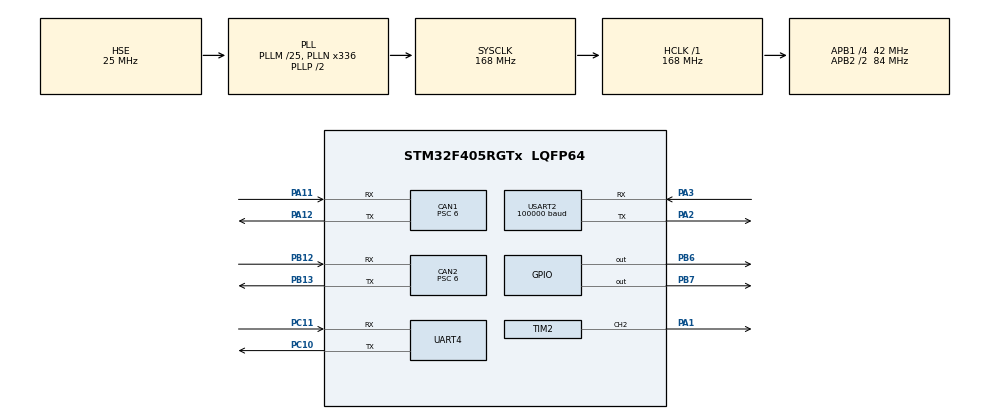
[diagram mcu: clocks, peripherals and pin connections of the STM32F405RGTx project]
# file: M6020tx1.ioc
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CAN1.ABOM=ENABLE
CAN1.BS1=CAN_BS1_4TQ
CAN1.BS2=CAN_BS2_2TQ
CAN1.CalculateBaudRate=1000000
CAN1.CalculateTimeBit=1000
CAN1.CalculateTimeQuantum=142.85714285714286
CAN1.NART=DISABLE
CAN1.Prescaler=6
CAN1.RFLM=DISABLE
CAN1.SJW=CAN_SJW_1TQ
CAN2.ABOM=ENABLE
CAN2.AWUM=ENABLE
CAN2.BS1=CAN_BS1_4TQ
CAN2.BS2=CAN_BS2_2TQ
CAN2.CalculateBaudRate=1000000
CAN2.CalculateTimeBit=1000
CAN2.CalculateTimeQuantum=142.85714285714286
CAN2.NART=ENABLE
CAN2.Prescaler=6
Dma.Request0=USART2_RX
Dma.Request1=UART4_TX
Dma.UART4_TX.1.Direction=DMA_MEMORY_TO_PERIPH
Dma.UART4_TX.1.FIFOMode=DMA_FIFOMODE_DISABLE
Dma.UART4_TX.1.Instance=DMA1_Stream4
Dma.UART4_TX.1.MemDataAlignment=DMA_MDATAALIGN_BYTE
Dma.UART4_TX.1.MemInc=DMA_MINC_ENABLE
Dma.UART4_TX.1.Mode=DMA_NORMAL
Dma.UART4_TX.1.PeriphDataAlignment=DMA_PDATAALIGN_BYTE
Dma.UART4_TX.1.PeriphInc=DMA_PINC_DISABLE
Dma.UART4_TX.1.Priority=DMA_PRIORITY_VERY_HIGH
Dma.USART2_RX.0.Direction=DMA_PERIPH_TO_MEMORY
Dma.USART2_RX.0.FIFOMode=DMA_FIFOMODE_ENABLE
Dma.USART2_RX.0.FIFOThreshold=DMA_FIFO_THRESHOLD_FULL
Dma.USART2_RX.0.Instance=DMA1_Stream5
Dma.USART2_RX.0.MemBurst=DMA_MBURST_SINGLE
Dma.USART2_RX.0.MemDataAlignment=DMA_MDATAALIGN_BYTE
Dma.USART2_RX.0.MemInc=DMA_MINC_ENABLE
Dma.USART2_RX.0.Mode=DMA_CIRCULAR
Dma.USART2_RX.0.PeriphBurst=DMA_PBURST_SINGLE
Dma.USART2_RX.0.PeriphDataAlignment=DMA_PDATAALIGN_BYTE
Dma.USART2_RX.0.PeriphInc=DMA_PINC_DISABLE
Dma.USART2_RX.0.Priority=DMA_PRIORITY_LOW
FREERTOS.INCLUDE_vTaskDelayUntil=1
FREERTOS.Queues01=USART_RXPORT,16,uint16_t,0,Dynamic,NULL,NULL
FREERTOS.Tasks01=defaultTask,-3,128,StartDefaultTask,Default,NULL,Dynamic,NULL,NULL;GM6020id2,-1,128,gm2,Default,NULL,Dynamic,NULL,NULL;jieGM,1,128,jbgm,Default,NULL,Dynamic,NULL,NULL;IMU,0,256,IMUwuhu,Default,NULL,Dynamic,NULL,NULL;pid,0,128,pidxy,Default,NULL,Dynamic,NULL,NULL;myTask06,-1,128,StartTask06,Default,NULL,Dynamic,NULL,NULL;myTask07,-1,128,StartTask07,Default,NULL,Dynamic,NULL,NULL;dr16,0,128,dr16Rx,Default,NULL,Dynamic,NULL,NULL;remove0,1,128,guiling,Default,NULL,Dynamic,NULL,NULL
Mcu.Family=STM32F4
Mcu.Name=STM32F405RGTx
Mcu.Package=LQFP64
NVIC.CAN1_RX0_IRQn=true\:6\:0\:true\:false\:true\:true\:true\:true\:true
NVIC.CAN1_RX1_IRQn=true\:6\:0\:true\:false\:true\:true\:true\:true\:true
NVIC.CAN2_RX0_IRQn=true\:5\:0\:false\:false\:true\:true\:true\:true\:true
NVIC.CAN2_RX1_IRQn=true\:5\:0\:false\:false\:true\:true\:true\:true\:true
NVIC.DMA1_Stream4_IRQn=true\:5\:0\:false\:false\:true\:true\:false\:true\:true
NVIC.DMA1_Stream5_IRQn=true\:5\:0\:false\:false\:true\:true\:false\:true\:true
NVIC.PriorityGroup=NVIC_PRIORITYGROUP_4
NVIC.TIM1_UP_TIM10_IRQn=true\:15\:0\:false\:false\:true\:false\:false\:true\:true
NVIC.TimeBase=TIM1_UP_TIM10_IRQn
NVIC.TimeBaseIP=TIM1
NVIC.UART4_IRQn=true\:5\:0\:true\:false\:true\:true\:true\:true\:true
NVIC.USART2_IRQn=true\:5\:0\:true\:false\:true\:true\:true\:true\:true
PA1.Signal=S_TIM2_CH2
PA11.Mode=CAN_Activate
PA11.Signal=CAN1_RX
PA12.Mode=CAN_Activate
PA12.Signal=CAN1_TX
PA13.Mode=Serial_Wire
PA13.Signal=SYS_JTMS-SWDIO
PA14.Mode=Serial_Wire
PA14.Signal=SYS_JTCK-SWCLK
PA2.Mode=Asynchronous
PA2.Signal=USART2_TX
PA3.Mode=Asynchronous
PA3.Signal=USART2_RX
PB12.Mode=CAN_Activate
PB12.Signal=CAN2_RX
PB13.Mode=CAN_Activate
PB13.Signal=CAN2_TX
PB6.GPIO_ModeDefaultOutputPP=GPIO_MODE_OUTPUT_OD
PB6.GPIO_PuPd=GPIO_NOPULL
PB6.GPIO_Speed=GPIO_SPEED_FREQ_HIGH
PB6.PinState=GPIO_PIN_RESET
PB6.Signal=GPIO_Output
PB7.GPIO_ModeDefaultOutputPP=GPIO_MODE_OUTPUT_OD
PB7.GPIO_PuPd=GPIO_NOPULL
PB7.GPIO_Speed=GPIO_SPEED_FREQ_HIGH
PB7.PinState=GPIO_PIN_RESET
PB7.Signal=GPIO_Output
PC10.Mode=Asynchronous
PC10.Signal=UART4_TX
PC11.Mode=Asynchronous
PC11.Signal=UART4_RX
PH0-OSC_IN.Mode=HSE-External-Oscillator
PH0-OSC_IN.Signal=RCC_OSC_IN
PH1-OSC_OUT.Mode=HSE-External-Oscillator
PH1-OSC_OUT.Signal=RCC_OSC_OUT
ProjectManager.HeapSize=0x200
ProjectManager.StackSize=0x400
ProjectManager.TargetToolchain=MDK-ARM V5.32
RCC.48MHZClocksFreq_Value=84000000
RCC.AHBFreq_Value=168000000
RCC.APB1CLKDivider=RCC_HCLK_DIV4
RCC.APB1Freq_Value=42000000
RCC.APB1TimFreq_Value=84000000
RCC.APB2CLKDivider=RCC_HCLK_DIV2
RCC.APB2Freq_Value=84000000
RCC.APB2TimFreq_Value=168000000
RCC.CortexFreq_Value=168000000
RCC.HCLKFreq_Value=168000000
RCC.HSE_VALUE=25000000
RCC.HSI_VALUE=16000000
RCC.LSE_VALUE=32768
RCC.PLLM=25
RCC.PLLN=336
RCC.PLLSourceVirtual=RCC_PLLSOURCE_HSE
RCC.SYSCLKFreq_VALUE=168000000
RCC.SYSCLKSource=RCC_SYSCLKSOURCE_PLLCLK
RCC.VCOOutputFreq_Value=336000000
SH.S_TIM2_CH2.0=TIM2_CH2,PWM Generation2 CH2
TIM2.Channel-PWM\ Generation2\ CH2=TIM_CHANNEL_2
TIM2.Period=1999
TIM2.Prescaler=159
UART4.VirtualMode=Asynchronous
USART2.BaudRate=100000
USART2.Parity=PARITY_EVEN
USART2.VirtualMode=VM_ASYNC
USART2.WordLength=WORDLENGTH_9B
VP_FREERTOS_VS_CMSIS_V1.Mode=CMSIS_V1
VP_SYS_VS_tim1.Mode=TIM1
VP_TIM2_VS_ClockSourceINT.Mode=Internal
board=custom

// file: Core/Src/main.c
/* USER CODE BEGIN Header */
/**
  ******************************************************************************
  * @file           : main.c
  * @brief          : Main program body
  ******************************************************************************
  * @attention
  *
  * Copyright (c) 2023 STMicroelectronics.
  * All rights reserved.
  *
  * This software is licensed under terms that can be found in the LICENSE file
  * in the root directory of this software component.
  * If no LICENSE file comes with this software, it is provided AS-IS.
  *
  ******************************************************************************
  */
/* USER CODE END Header */
#include "main.h"
#include "cmsis_os.h"
#include "can.h"
#include "dma.h"
#include "tim.h"
#include "usart.h"
#include "gpio.h"

/* USER CODE BEGIN Includes */
#include "bsp_can.h"
#include "CAN_receive.h"
#include "pid.h"
#include "stdio.h"
#include "IIC.h"
#include "mpu6050.h"
#include "inv_mpu.h"
#include "inv_mpu_dmp_motion_driver.h"
/* USER CODE END Includes */

/* USER CODE BEGIN PV */
pid_type_def pid_speed[8];
pid_type_def pid_omega[8];

struct RC_Ctrl_t RC_CtrlData;
uint8_t buffer[18];

extern osThreadId IMUHandle;
extern osThreadId GM6020id2Handle;
extern osThreadId remove0Handle;
extern osThreadId dr16Handle;
/* USER CODE END PV */

void SystemClock_Config(void);
void MX_FREERTOS_Init(void);

/* USER CODE BEGIN 0 */
// //pid参数

//注意！！！摩擦轮和拨弹电机都是基于2PI/60计算的！
//拨弹电机
float Speed0_pid [3] = {88,0.0,0.06};
fp32 Omega0_pid [3] = {0.795,0.0,0.06};

//左摩擦轮
fp32 Speed1_pid [3] = {10.0,0.01,0.001};
fp32 Omega1_pid [3] = {17.5,0.0,0.00};

//右摩擦轮
fp32 Speed2_pid [3] = {10.0,0.01,0.001};
fp32 Omega2_pid [3] = {17.5,0.0,0.00};

//归零
fp32 Speed3_pid [3] = {30.0,0,0.00};
fp32 Omega3_pid [3] = {22,0,0.00};

//pitch
fp32 Speed5_pid [3] = {112.0,0,0.00};
fp32 Omega5_pid [3] = {8.0,0.135,0.001};

//yaw
fp32 Speed7_pid [3] = {100.0,0,0.00};
fp32 Omega7_pid [3] = {8.0,1.50,0.00};

void Get_DR16_Data(uint8_t *Buff)
	{
		RC_CtrlData.remote .ch0 =(Buff[0]|Buff[1]<<8)&0x07FF;
		RC_CtrlData.remote .ch0 -=1024;
	  RC_CtrlData.remote .ch1 =(Buff [1]>>3|Buff[2]<<5)&0x07FF;
		RC_CtrlData.remote .ch1 -=1024;
		RC_CtrlData.remote .ch2 =(Buff[2]>>6|Buff[3]<<2|Buff[4]<<10)&0x07FF;
		RC_CtrlData.remote .ch2 -=1024;
		RC_CtrlData.remote .ch3 =(Buff[4]>>1|Buff[5]<<7)&0x07FF;
		RC_CtrlData.remote .ch3 -=1024;
		RC_CtrlData.remote .s1 =(Buff[5]>>4&0x000C)>>2;
		RC_CtrlData.remote .s2 =(Buff[5]>>4)&0x003;
		RC_CtrlData.mouse .x =(Buff[6]|Buff[7]<<8);
		RC_CtrlData.mouse .y =(Buff[8]|Buff[9]<<8);
		RC_CtrlData.mouse .z =(Buff[10]|Buff[11]<<8);
		RC_CtrlData.mouse .press_left =(Buff[12]);
		RC_CtrlData.mouse .press_right =(Buff[13]);
	}//A5 4C 00 08 FC 45 00 08 00 00 6C E9 00 00 00 00 00 00
     //9D 4C 00 08 F4 45 00 08 00 00 00 04 00 00 00 00 00 00
     //F1 4B 00 08 2C 45 00 08 00 00 00 04 00 00 00 00 00 00
     //F1 4B 00 08 2C 45 00 08 00 00 94 06 00 00 00 00 00 00
/* USER CODE END 0 */

int main(void)
{
  /* USER CODE BEGIN 1 */
    //HAL_Delay(2000);
  /* USER CODE END 1 */

  /* MCU Configuration--------------------------------------------------------*/

  /* Reset of all peripherals, Initializes the Flash interface and the Systick. */
  HAL_Init();

  /* Configure the system clock */
  SystemClock_Config();

  /* Initialize all configured peripherals */
  MX_GPIO_Init();
  MX_DMA_Init();
  MX_CAN1_Init();
  MX_CAN2_Init();
  MX_USART2_UART_Init();
  MX_UART4_Init();
  MX_TIM2_Init();
  /* USER CODE BEGIN 2 */
    can_filter_init();
    //归零初始化
    PID_init(&pid_omega[3],PID_POSITION,Omega3_pid,1000,15);
    PID_init(&pid_speed[3],PID_POSITION,Speed3_pid,30000,10000);

    //2006拨弹电机初始化
    PID_init(&pid_omega[0],PID_POSITION,Omega0_pid,16000,1000);
    PID_init(&pid_speed[0],PID_POSITION,Speed0_pid,10000,1000);

    //左摩擦轮初始化
    PID_init(&pid_omega[1],PID_POSITION,Omega1_pid,16000,2500);
    PID_init(&pid_speed[1],PID_POSITION,Speed1_pid,16000,2500);

    //右摩擦轮初始化
    PID_init(&pid_omega[2],PID_POSITION,Omega2_pid,16000,2500);
    PID_init(&pid_speed[2],PID_POSITION,Speed2_pid,16000,2500);

    //pitch电机初始化
    PID_init(&pid_omega[5],PID_POSITION,Omega5_pid,2000,15);
    PID_init(&pid_speed[5],PID_POSITION,Speed5_pid,30000,10000);

    //yaw电机初始化
    PID_init(&pid_omega[7],PID_POSITION,Omega7_pid,20000,3);
    PID_init(&pid_speed[7],PID_POSITION,Speed7_pid,20000,1000);
    __HAL_UART_ENABLE_IT(&huart2 ,UART_IT_IDLE);
    HAL_UART_Receive_DMA(&huart2,buffer,18);
    //__HAL_UART_ENABLE_IT(&huart4 ,UART_IT_IDLE);

   HAL_TIM_PWM_Start(&htim2,TIM_CHANNEL_2);
   MPU_Init();     // MPU6050初始化
        mpu_dmp_init(); // dmp初始化
        while (mpu_dmp_init() != 0)
        {
        printf("MPU6050 INIT ERROR\r\n");
        } // 初始化失败大概率是接线不稳定

   /* USER CODE END 2 */

   /* Call init function for freertos objects (in freertos.c) */
   MX_FREERTOS_Init();

   /* Start scheduler */
   osKernelStart();

//   vTaskSuspend(GM6020id2Handle);
//   vTaskSuspend(IMUHandle);
//   vTaskSuspend(dr16Handle);

   /* We should never get here as control is now taken by the scheduler */
   /* Infinite loop */
   /* USER CODE BEGIN WHILE */

   while (1)
   {
     // CAN_cmd_gimbal(0, 10000, 0, 0);
     // HAL_Delay(2);

     /* USER CODE END WHILE */

  }
}

void SystemClock_Config(void)
{
  RCC_OscInitTypeDef RCC_OscInitStruct = {0};
  RCC_ClkInitTypeDef RCC_ClkInitStruct = {0};

  /** Configure the main internal regulator output voltage
  */
  __HAL_RCC_PWR_CLK_ENABLE();
  __HAL_PWR_VOLTAGESCALING_CONFIG(PWR_REGULATOR_VOLTAGE_SCALE1);

  /** Initializes the RCC Oscillators according to the specified parameters
  * in the RCC_OscInitTypeDef structure.
  */
  RCC_OscInitStruct.OscillatorType = RCC_OSCILLATORTYPE_HSE;
  RCC_OscInitStruct.HSEState = RCC_HSE_ON;
  RCC_OscInitStruct.PLL.PLLState = RCC_PLL_ON;
  RCC_OscInitStruct.PLL.PLLSource = RCC_PLLSOURCE_HSE;
  RCC_OscInitStruct.PLL.PLLM = 25;
  RCC_OscInitStruct.PLL.PLLN = 336;
  RCC_OscInitStruct.PLL.PLLP = RCC_PLLP_DIV2;
  RCC_OscInitStruct.PLL.PLLQ = 4;
  if (HAL_RCC_OscConfig(&RCC_OscInitStruct) != HAL_OK)
  {
    Error_Handler();
  }

  /** Initializes the CPU, AHB and APB buses clocks
  */
  RCC_ClkInitStruct.ClockType = RCC_CLOCKTYPE_HCLK|RCC_CLOCKTYPE_SYSCLK
                              |RCC_CLOCKTYPE_PCLK1|RCC_CLOCKTYPE_PCLK2;
  RCC_ClkInitStruct.SYSCLKSource = RCC_SYSCLKSOURCE_PLLCLK;
  RCC_ClkInitStruct.AHBCLKDivider = RCC_SYSCLK_DIV1;
  RCC_ClkInitStruct.APB1CLKDivider = RCC_HCLK_DIV4;
  RCC_ClkInitStruct.APB2CLKDivider = RCC_HCLK_DIV2;

  if (HAL_RCC_ClockConfig(&RCC_ClkInitStruct, FLASH_LATENCY_5) != HAL_OK)
  {
    Error_Handler();
  }
}

void HAL_TIM_PeriodElapsedCallback(TIM_HandleTypeDef *htim)
{
  if (htim->Instance == TIM1) {
    HAL_IncTick();
  }
}

void Error_Handler(void)
{
  __disable_irq();
  while (1)
  {
  }
}

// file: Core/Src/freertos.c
/* USER CODE BEGIN Header */
/**
  ******************************************************************************
  * File Name          : freertos.c
  * Description        : Code for freertos applications
  ******************************************************************************
  * @attention
  *
  * Copyright (c) 2023 STMicroelectronics.
  * All rights reserved.
  *
  * This software is licensed under terms that can be found in the LICENSE file
  * in the root directory of this software component.
  * If no LICENSE file comes with this software, it is provided AS-IS.
  *
  ******************************************************************************
  */
/* USER CODE END Header */

#include "FreeRTOS.h"
#include "task.h"
#include "main.h"
#include "cmsis_os.h"

/* USER CODE BEGIN Includes */
#include "bsp_can.h"
#include "CAN_receive.h"
#include "stdio.h"
#include "pid.h"
#include <math.h>
#include "IIC.h"
#include "mpu6050.h"
#include "inv_mpu.h"
#include "inv_mpu_dmp_motion_driver.h"
#define RPM_TO_RADPS (2.0f * PI / 60.0f)
#define PI acos(-1)

/* USER CODE END Includes */

/* USER CODE BEGIN Variables */
extern struct sqks_data WaitSolveData;
extern motor_measure_t motor_chassis[9];
extern pid_type_def pid_speed[8];
extern pid_type_def pid_omega[8];
extern UART_HandleTypeDef huart4;
extern UART_HandleTypeDef huart2;
extern DMA_HandleTypeDef hdma_usart4_tx;
extern DMA_HandleTypeDef hdma_usart2_rx;
extern struct RC_Ctrl_t RC_CtrlData;
extern TIM_HandleTypeDef htim2;
extern uint8_t buffer[18];
int check = 1;//控制拨盘电机连发
int checksingle = 1;//控制拨盘电机单发
int Setrpm;//摩擦轮目标转速
int checksetpitch = 1;
int checksetyaw = 1;
int checkling = 1;
int checkdr =1;
int Rx_0Angle;
//DR16输入值
float drpitch;
float dryaw;
//常量
    uint16_t Encoder_Num_Per_Round = 8192;
    //uint16_t Output_Max = 30000;
    uint32_t Encoder_Offset = 0;
//变量

//pitch
    //总编码值
    int32_t Total_Encoder = 0;
    //接收到的编码值, 0~8191
    uint16_t Rx_Encoder = 0;
    //上一次结束的编码值
    uint16_t Pre_Encoder = 0;
    //接收到的角度值
    float Rx_Angle = 0;
    //接收到的转速, rpm
    float Rx_Omega = 0;
    //接收圈数
    int32_t Total_Round = 0;

//yaw
    //总编码值
    int32_t YawTotal_Encoder = 0;
    //接收到的编码值, 0~8191
    uint16_t YawRx_Encoder = 0;
    //上一次结束的编码值
    uint16_t YawPre_Encoder = 0;
    //接收到的角度值
    float YawRx_Angle = 0;
    //接收到的转速, rpm
    float YawRx_Omega = 0;
    //接收圈数
    int32_t YawTotal_Round = 0;

//拨盘
    //总编码值
    int32_t bpTotal_Encoder = 0;
    //接收到的编码值, 0~8191
    uint16_t bpRx_Encoder = 0;
    //上一次结束的编码值
    uint16_t bpPre_Encoder = 0;
    //接收到的角度值
    float bpRx_Angle = 0;
    //接收到的转速, rpm
    float bpRx_Omega = 0;
    //接收圈数
    int32_t bpTotal_Round = 0;

void pidsolvepitch(int n,float Set_Angle);//pitch
void pidsolveyaw(int n,float Set_Angle);//yaw
void pidsolvebp(int n,float Set_bpAngle);//拨盘
void PrintC(int n,float Set_Angle);
float pitch,roll,yaw; 		    //欧拉角
short aacx,aacy,aacz;			//加速度传感器原始数据
short gyrox,gyroy,gyroz;		//陀螺仪原始数据
float temp;				    //温度
float SetbpAngle = 0;
/* USER CODE END Variables */
osThreadId defaultTaskHandle;
osThreadId GM6020id2Handle;
osThreadId jieGMHandle;
osThreadId IMUHandle;
osThreadId pidHandle;
osThreadId myTask06Handle;
osThreadId myTask07Handle;
osThreadId dr16Handle;
osThreadId remove0Handle;
osMessageQId USART_RXPORTHandle;

/* USER CODE BEGIN FunctionPrototypes */
void Get_DR16_Data(uint8_t *Buff);
float Complementary_Filter_x(float angle_m, float gyro_m);
/* USER CODE END FunctionPrototypes */

void StartDefaultTask(void const * argument);
void gm2(void const * argument);
void jbgm(void const * argument);
void IMUwuhu(void const * argument);
void pidxy(void const * argument);
void StartTask06(void const * argument);
void StartTask07(void const * argument);
void dr16Rx(void const * argument);
void guiling(void const * argument);

void MX_FREERTOS_Init(void); /* (MISRA C 2004 rule 8.1) */

/* GetIdleTaskMemory prototype (linked to static allocation support) */
void vApplicationGetIdleTaskMemory( StaticTask_t **ppxIdleTaskTCBBuffer, StackType_t **ppxIdleTaskStackBuffer, uint32_t *pulIdleTaskStackSize );

/* USER CODE BEGIN GET_IDLE_TASK_MEMORY */
static StaticTask_t xIdleTaskTCBBuffer;
static StackType_t xIdleStack[configMINIMAL_STACK_SIZE];

void vApplicationGetIdleTaskMemory( StaticTask_t **ppxIdleTaskTCBBuffer, StackType_t **ppxIdleTaskStackBuffer, uint32_t *pulIdleTaskStackSize )
{
  *ppxIdleTaskTCBBuffer = &xIdleTaskTCBBuffer;
  *ppxIdleTaskStackBuffer = &xIdleStack[0];
  *pulIdleTaskStackSize = configMINIMAL_STACK_SIZE;
  /* place for user code */
}
/* USER CODE END GET_IDLE_TASK_MEMORY */

void MX_FREERTOS_Init(void) {

  /* Create the queue(s) */
  /* definition and creation of USART_RXPORT */
  osMessageQDef(USART_RXPORT, 16, uint16_t);
  USART_RXPORTHandle = osMessageCreate(osMessageQ(USART_RXPORT), NULL);

  /* Create the thread(s) */
  /* definition and creation of defaultTask */
  osThreadDef(defaultTask, StartDefaultTask, osPriorityIdle, 0, 128);
  defaultTaskHandle = osThreadCreate(osThread(defaultTask), NULL);

  /* definition and creation of GM6020id2 */
  osThreadDef(GM6020id2, gm2, osPriorityBelowNormal, 0, 128);
  GM6020id2Handle = osThreadCreate(osThread(GM6020id2), NULL);

  /* definition and creation of jieGM */
  osThreadDef(jieGM, jbgm, osPriorityAboveNormal, 0, 128);
  jieGMHandle = osThreadCreate(osThread(jieGM), NULL);

  /* definition and creation of IMU */
  osThreadDef(IMU, IMUwuhu, osPriorityNormal, 0, 256);
  IMUHandle = osThreadCreate(osThread(IMU), NULL);

  /* definition and creation of pid */
  osThreadDef(pid, pidxy, osPriorityNormal, 0, 128);
  pidHandle = osThreadCreate(osThread(pid), NULL);

  /* definition and creation of myTask06 */
  osThreadDef(myTask06, StartTask06, osPriorityBelowNormal, 0, 128);
  myTask06Handle = osThreadCreate(osThread(myTask06), NULL);

  /* definition and creation of myTask07 */
  osThreadDef(myTask07, StartTask07, osPriorityBelowNormal, 0, 128);
  myTask07Handle = osThreadCreate(osThread(myTask07), NULL);

  /* definition and creation of dr16 */
  osThreadDef(dr16, dr16Rx, osPriorityNormal, 0, 128);
  dr16Handle = osThreadCreate(osThread(dr16), NULL);

  /* definition and creation of remove0 */
  osThreadDef(remove0, guiling, osPriorityAboveNormal, 0, 128);
  remove0Handle = osThreadCreate(osThread(remove0), NULL);

}

void StartDefaultTask(void const * argument)
{
  for(;;)
  {
    osDelay(1);
  }
}

void gm2(void const * argument)
{
    vTaskDelay(3000);//延时3s保证稳定抬头
  /* USER CODE BEGIN gm2 */
    TickType_t lasttick = xTaskGetTickCount();
  /* Infinite loop */
  for(;;)
  {
    //  //pitch

    if (checksetpitch)
    {
      pidsolvepitch(5,drpitch);

      //pitch前馈
      // pid_speed[n].out+= -(120.82f*(-Rx_Angle)) - 3623.5f;
      // pid_speed[n].out += -115.94f*(-Rx_Angle) - 1379.2f;
      pid_speed[5].out += -96.61f * (-Rx_Angle) - 2570.5f;//这套最好
      // 限制加前馈后的最大输出，需要注意，can包发送函数传参最大值为32767，如果不限制，会爆范围导致骤降到-32767，导致堵转。
      if (pid_speed[5].out > 30000)
      {
        pid_speed[5].out = 30000;
      }
      else if (pid_speed[5].out < -30000)
      {
        pid_speed[5].out = -30000;
      }
      CAN1_cmd_gimbal(0, pid_speed[5].out, 0, 0);
    }
    else
    {
      CAN1_cmd_gimbal(0, 0, 0, 0);
    }

     //yaw
    if (checksetyaw)
    {
      pidsolveyaw(7, dryaw);
      CAN2_cmd_gimbal(0, 0, 0, pid_speed[7].out);
    }
    else
    {
      CAN2_cmd_gimbal(0, 0, 0, 0);
    }

    vTaskDelayUntil(&lasttick,pdMS_TO_TICKS(1));
  }
  /* USER CODE END gm2 */
}

void jbgm(void const * argument)
{
  /* USER CODE BEGIN jbgm */
  //处理DR16反馈数据
  //可以通过debug查看数据
   uint8_t BUFF[18];
    //float data[3];
  /* Infinite loop */
  for(;;)
  {
        Get_DR16_Data(buffer);
       if(xQueueReceive(USART_RXPORTHandle,&BUFF,20) != pdPASS)
       {
        //掉电保护，要求yaw和pitch电机输出为0，摩擦轮目标转速为0.

        //yaw电机输出为零
       checksetyaw = 0;

        //pitch电机输出为零
       checksetpitch = 0;

        //摩擦轮目标转速置零
        Setrpm = 0;

        //波胆电机
        checksingle = 0;
        checkdr = 0;

        }else
        {
          //yaw上电恢复
          checksetyaw = 1;

          //pitch上电恢复
          checksetpitch = 1;

          checksingle = 1;
          checkdr = 1;
        }
  }
  /* USER CODE END jbgm */
}

void IMUwuhu(void const * argument)
{
  /* USER CODE BEGIN IMUwuhu */
  /* Infinite loop */
  for(;;)
  {
    osDelay(5);
        while(mpu_dmp_get_data(&pitch, &roll, &yaw));	//必须要用while等待，才能读取成功
        MPU_Get_Accelerometer(&aacx,&aacy, &aacz);		//得到加速度传感器数据
        MPU_Get_Gyroscope(&gyrox, &gyroy, &gyroz);		//得到陀螺仪数据
    osDelay(1);
  }
  /* USER CODE END IMUwuhu */
}

void pidxy(void const * argument)
{
  /* USER CODE BEGIN pidxy */
  /* Infinite loop */
  for(;;)
  {
    //拨盘电机
    pidsolvebp(0,SetbpAngle);
    //左右摩擦轮转动方向相反
    PID_calc(&pid_speed[1],motor_chassis[1].speed_rpm,Setrpm);
    //右摩擦轮
    PID_calc(&pid_speed[2],motor_chassis[2].speed_rpm,-Setrpm);
    CAN_cmd_chassis(pid_speed[0].out,pid_speed[1].out,pid_speed[2].out,0);
    osDelay(1);
  }
  /* USER CODE END pidxy */
}

void StartTask06(void const * argument)
{
  /* USER CODE BEGIN StartTask06 */
  /* Infinite loop */
  for (;;)
  {
    // 控制弹仓盖开启和关闭
    //还有摩擦轮
    if (RC_CtrlData.remote.s2 == 1)
    {
        __HAL_TIM_SetCompare(&htim2, TIM_CHANNEL_2, 250);
        if(Setrpm != 0)
        Setrpm = 0;
    }
    else if (RC_CtrlData.remote.s2 == 3)
    {
        __HAL_TIM_SetCompare(&htim2, TIM_CHANNEL_2, 1170);
    }else if (RC_CtrlData.remote.s2 == 2)
    {
        //打开摩擦轮
        Setrpm = 6000;
    }

    //s1控制破盘
    if (RC_CtrlData.remote.s1 == 1) // 每五十毫秒递增一次target
    {
          // 连发
          check = 1;
          SetbpAngle -= 36 * 36 * check * checkdr;
          TickType_t lasttick2 = xTaskGetTickCount();
          vTaskDelayUntil(&lasttick2, pdMS_TO_TICKS(50));
    }
    else if (RC_CtrlData.remote.s1 == 3)
    {
          check = 0;
          checksingle = 1;
    }
    else if(RC_CtrlData.remote.s1 == 2)
    {
          // 单发
          SetbpAngle -= 36 * 36 * checksingle;
          checksingle = 0;
    }
    osDelay(2);
  }

  /* USER CODE END StartTask06 */
}

void StartTask07(void const * argument)
{
  /* USER CODE BEGIN StartTask07 */
  /* Infinite loop */
  for(;;)
  {
      //在这里存放调试曲线的打印函数
      //上位机为vofa+，文件末尾有示例
    }
  /* USER CODE END StartTask07 */
}

void dr16Rx(void const * argument)
{
  /* USER CODE BEGIN dr16Rx */
  /* Infinite loop */
  for(;;)
  {
    //限制pitch最大角度
      drpitch += (RC_CtrlData.remote .ch1/660);
        if(drpitch < -40)
    {
      drpitch = -39.9;
    }else if (drpitch > 20)
    {
      drpitch = 19.9;
    }

    dryaw += (RC_CtrlData.remote .ch2/660);

    osDelay(10);
  }
  /* USER CODE END dr16Rx */
}

int Angle = 0;
void guiling(void const * argument)
{
  for(;;)
  {
    osDelay(1);
  }
}

/* USER CODE BEGIN Application */
void pidsolvepitch(int n,float Set_pitchAngle)
{

    int16_t delta_encoder;
     Pre_Encoder =  Rx_Encoder;
     Rx_Encoder = motor_chassis[n].ecd;
     delta_encoder = Rx_Encoder - Pre_Encoder;
     Rx_Omega = motor_chassis[n].speed_rpm;

      if (delta_encoder < -4096)
    {
        Total_Round++;
    }
    else if (delta_encoder > 4096)
    {
        Total_Round--;
    }
    Total_Encoder = Total_Round * Encoder_Num_Per_Round + Rx_Encoder + 0;
    Rx_Omega = (float)Rx_Omega * (360/60);
    Rx_Angle = Complementary_Filter_x(pitch,gyroy/16.384f);//互补滤波算法
    PID_calc(&pid_omega[n],-Rx_Angle,Set_pitchAngle);
    PID_calc(&pid_speed[n],-gyroy/16.384,pid_omega[n].out);

}

void pidsolveyaw(int n,float Set_yawAngle)
{
    int16_t delta_encoder;
     YawPre_Encoder =  YawRx_Encoder;
     YawRx_Encoder = motor_chassis[n].ecd;
     delta_encoder = YawRx_Encoder - YawPre_Encoder;
     YawRx_Omega = motor_chassis[n].speed_rpm;

      if (delta_encoder < -4096)
    {
        YawTotal_Round++;
    }
    else if (delta_encoder > 4096)
    {
        YawTotal_Round--;
    }
    YawTotal_Encoder = YawTotal_Round * Encoder_Num_Per_Round + YawRx_Encoder + 0;
    YawRx_Angle = (float)YawTotal_Encoder/(float)Encoder_Num_Per_Round * 360;
    //Now_Torque = motor_chassis[n].given_current;
    YawRx_Omega = (float)YawRx_Omega * (360/60);
    PID_calc(&pid_omega[n],YawRx_Angle,Set_yawAngle);
    PID_calc(&pid_speed[n],YawRx_Omega,pid_omega[n].out);
}

void pidsolvebp(int n,float Set_bpAngle)
{
    int16_t delta_encoder;
     bpPre_Encoder =  bpRx_Encoder;
     bpRx_Encoder = motor_chassis[n].ecd;
     delta_encoder = bpRx_Encoder - bpPre_Encoder;
     bpRx_Omega = motor_chassis[n].speed_rpm;

      if (delta_encoder < -4096)
    {
        bpTotal_Round++;
    }
    else if (delta_encoder > 4096)
    {
        bpTotal_Round--;
    }
    bpTotal_Encoder = bpTotal_Round * Encoder_Num_Per_Round + bpRx_Encoder + 0;
    bpRx_Angle = (float)bpTotal_Encoder/(float)Encoder_Num_Per_Round * 360;
    bpRx_Omega = (float)bpRx_Omega * RPM_TO_RADPS;
    PID_calc(&pid_omega[n],bpRx_Angle,Set_bpAngle);
    PID_calc(&pid_speed[n],bpRx_Omega,pid_omega[n].out);
}

void PrintC(int n,float Set_Angle)
{

  float data[6];

    //打印非IMU
    //data[0] = Rx_Angle;
    //打印IMU(pitch)
    data[0] = -Rx_Angle;
    data[1] = Set_Angle;
    data[2] = pid_omega[n].Iout;
    data[3] = pid_omega[n].out;
    data[4] = pid_speed[n].Iout;
    data[5] = pid_speed[n].out;
    HAL_UART_Transmit(&huart4,(uint8_t*)data,sizeof(float)*6,0xFFFF);
    uint8_t tail[4] = {0x00, 0x00, 0x80, 0x7f};
    HAL_UART_Transmit(&huart4,tail,4,0xFFFF);
}

/****************************** BEFIN ********************************
**
**@Name       : Complementary_Filter_x
**@Brief      : 一阶互补滤波
**@Param angle_m: 加速度算出的角度
**		gyro_m: 陀螺仪的角速度
**@Return     : None
**@Author     : @mayuxin
**@Data	      : 2022-06-04
******************************** END *********************************/
float dt=0.005;//每5ms进行一次滤波
float Complementary_Filter_x(float angle_m, float gyro_m)
{
	 static float angle;
	 float K1 =0.6;
   angle = K1 * angle_m+ (1-K1) * (angle + gyro_m * dt);
	 return angle;
}

/* USER CODE END Application */
